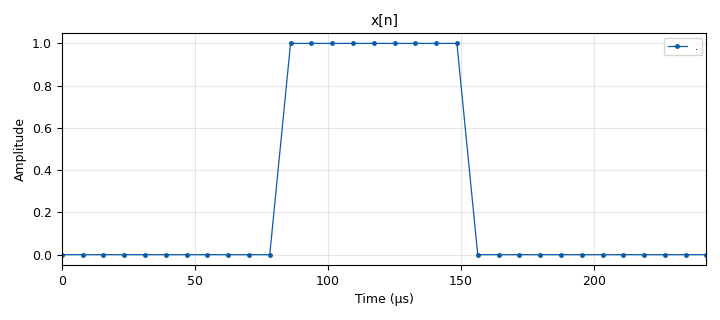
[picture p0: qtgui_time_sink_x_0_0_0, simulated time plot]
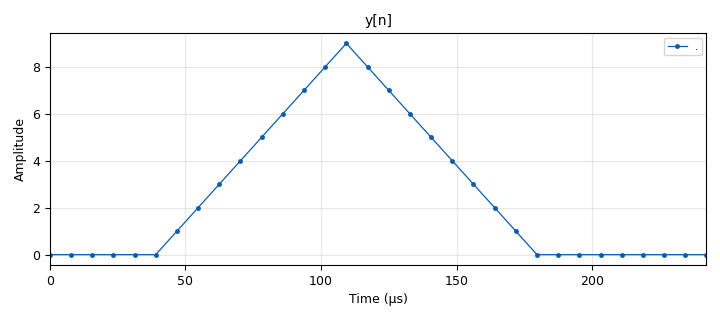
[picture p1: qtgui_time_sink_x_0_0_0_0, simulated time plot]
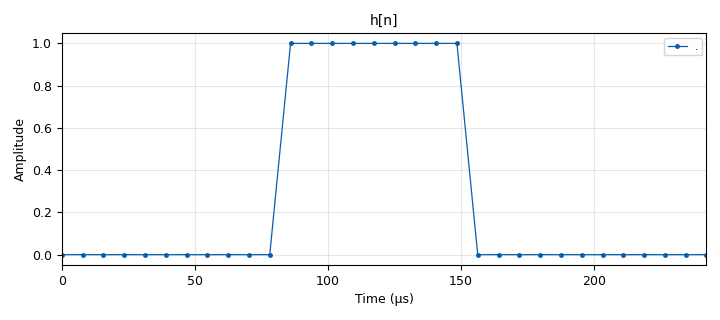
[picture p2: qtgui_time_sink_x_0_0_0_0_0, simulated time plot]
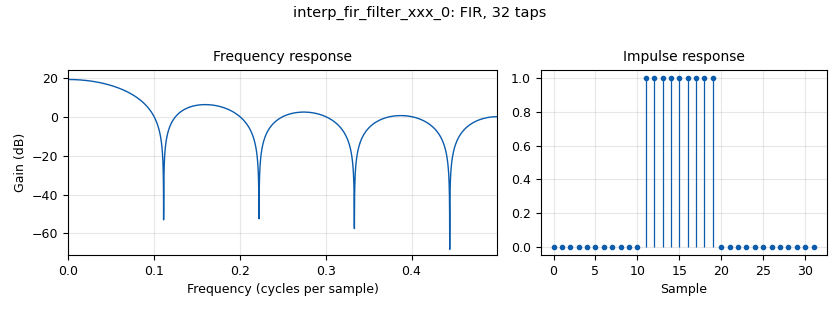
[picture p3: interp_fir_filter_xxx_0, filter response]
<?xml version='1.0' encoding='utf-8'?>
<?grc format='1' created='3.7.13'?>
<flow_graph>
<block>
<key>options</key>
<param><key>id</key><value>top_block</value></param>
<param><key>category</key><value>Custom</value></param>
<param><key>generate_options</key><value>qt_gui</value></param>
<param><key>run</key><value>run_stop</value></param>
</block>
<block>
<key>variable</key>
<param><key>id</key><value>N</value></param>
<param><key>value</key><value>32</value></param>
</block>
<block>
<key>variable</key>
<param><key>id</key><value>h</value></param>
<param><key>value</key><value>x</value></param>
</block>
<block>
<key>variable_qtgui_range</key>
<param><key>id</key><value>retraso</value></param>
<param><key>value</key><value>int(N/2)</value></param>
<param><key>gui_hint</key><value>0,1,1,1</value></param>
<param><key>label</key><value>retrasar senal</value></param>
<param><key>orient</key><value>Qt.Horizontal</value></param>
<param><key>start</key><value>0</value></param>
<param><key>step</key><value>1</value></param>
<param><key>stop</key><value>N</value></param>
<param><key>rangeType</key><value>int</value></param>
</block>
<block>
<key>variable_qtgui_check_box</key>
<param><key>id</key><value>run_stop</value></param>
<param><key>value</key><value>True</value></param>
<param><key>false</key><value>False</value></param>
<param><key>gui_hint</key><value>0,0,1,1</value></param>
<param><key>label</key><value>Inicial/Parar</value></param>
<param><key>true</key><value>True</value></param>
<param><key>type</key><value>real</value></param>
</block>
<block>
<key>variable</key>
<param><key>id</key><value>samp_rate</value></param>
<param><key>value</key><value>128000</value></param>
</block>
<block>
<key>variable</key>
<param><key>id</key><value>x</value></param>
<param><key>value</key><value>(0,0,0,0,0,0,0,0,0,0,0,1,1,1,1,1,1,1,1,1,0,0,0,0,0,0,0,0,0,0,0,0)</value></param>
</block>
<block>
<key>blocks_delay</key>
<param><key>id</key><value>blocks_delay_0</value></param>
<param><key>delay</key><value>retraso</value></param>
<param><key>type</key><value>float</value></param>
</block>
<block>
<key>blocks_throttle</key>
<param><key>id</key><value>blocks_throttle_0</value></param>
<param><key>samples_per_second</key><value>samp_rate</value></param>
<param><key>type</key><value>float</value></param>
</block>
<block>
<key>blocks_vector_source_x</key>
<param><key>id</key><value>blocks_vector_source_x_0_0</value></param>
<param><key>type</key><value>float</value></param>
<param><key>repeat</key><value>True</value></param>
<param><key>vector</key><value>x</value></param>
</block>
<block>
<key>blocks_vector_source_x</key>
<param><key>id</key><value>blocks_vector_source_x_0_0_0</value></param>
<param><key>type</key><value>float</value></param>
<param><key>repeat</key><value>True</value></param>
<param><key>vector</key><value>h</value></param>
</block>
<block>
<key>interp_fir_filter_xxx</key>
<param><key>id</key><value>interp_fir_filter_xxx_0</value></param>
<param><key>interp</key><value>1</value></param>
<param><key>taps</key><value>h</value></param>
<param><key>type</key><value>fff</value></param>
</block>
<block>
<key>qtgui_time_sink_x</key>
<param><key>id</key><value>qtgui_time_sink_x_0_0_0</value></param>
<param><key>autoscale</key><value>True</value></param>
<param><key>gui_hint</key><value>4,0,1,1</value></param>
<param><key>color1</key><value>"blue"</value></param>
<param><key>label1</key><value>.</value></param>
<param><key>marker1</key><value>0</value></param>
<param><key>width1</key><value>3</value></param>
<param><key>name</key><value>"x[n]"</value></param>
<param><key>size</key><value>N</value></param>
<param><key>srate</key><value>samp_rate</value></param>
<param><key>type</key><value>float</value></param>
</block>
<block>
<key>qtgui_time_sink_x</key>
<param><key>id</key><value>qtgui_time_sink_x_0_0_0_0</value></param>
<param><key>autoscale</key><value>True</value></param>
<param><key>gui_hint</key><value>6,0,1,1</value></param>
<param><key>color1</key><value>"blue"</value></param>
<param><key>label1</key><value>.</value></param>
<param><key>marker1</key><value>0</value></param>
<param><key>width1</key><value>3</value></param>
<param><key>name</key><value>"y[n]"</value></param>
<param><key>size</key><value>N</value></param>
<param><key>srate</key><value>samp_rate</value></param>
<param><key>type</key><value>float</value></param>
</block>
<block>
<key>qtgui_time_sink_x</key>
<param><key>id</key><value>qtgui_time_sink_x_0_0_0_0_0</value></param>
<param><key>autoscale</key><value>True</value></param>
<param><key>gui_hint</key><value>4,1,1,1</value></param>
<param><key>color1</key><value>"blue"</value></param>
<param><key>label1</key><value>.</value></param>
<param><key>marker1</key><value>0</value></param>
<param><key>width1</key><value>3</value></param>
<param><key>name</key><value>"h[n]"</value></param>
<param><key>size</key><value>N</value></param>
<param><key>srate</key><value>samp_rate</value></param>
<param><key>type</key><value>float</value></param>
</block>
<block>
<key>virtual_sink</key>
<param><key>id</key><value>virtual_sink_0</value></param>
<param><key>stream_id</key><value>T2</value></param>
</block>
<block>
<key>virtual_sink</key>
<param><key>id</key><value>virtual_sink_0_0</value></param>
<param><key>stream_id</key><value>T1</value></param>
</block>
<block>
<key>virtual_source</key>
<param><key>id</key><value>virtual_source_0</value></param>
<param><key>stream_id</key><value>T2</value></param>
</block>
<block>
<key>virtual_source</key>
<param><key>id</key><value>virtual_source_0_0</value></param>
<param><key>stream_id</key><value>T1</value></param>
</block>
<connection><source_block_id>blocks_delay_0</source_block_id><sink_block_id>qtgui_time_sink_x_0_0_0_0</sink_block_id><source_key>0</source_key><sink_key>0</sink_key></connection>
<connection><source_block_id>blocks_throttle_0</source_block_id><sink_block_id>virtual_sink_0</sink_block_id><source_key>0</source_key><sink_key>0</sink_key></connection>
<connection><source_block_id>blocks_vector_source_x_0_0</source_block_id><sink_block_id>interp_fir_filter_xxx_0</sink_block_id><source_key>0</source_key><sink_key>0</sink_key></connection>
<connection><source_block_id>blocks_vector_source_x_0_0</source_block_id><sink_block_id>virtual_sink_0_0</sink_block_id><source_key>0</source_key><sink_key>0</sink_key></connection>
<connection><source_block_id>blocks_vector_source_x_0_0_0</source_block_id><sink_block_id>qtgui_time_sink_x_0_0_0_0_0</sink_block_id><source_key>0</source_key><sink_key>0</sink_key></connection>
<connection><source_block_id>interp_fir_filter_xxx_0</source_block_id><sink_block_id>blocks_throttle_0</sink_block_id><source_key>0</source_key><sink_key>0</sink_key></connection>
<connection><source_block_id>virtual_source_0</source_block_id><sink_block_id>blocks_delay_0</sink_block_id><source_key>0</source_key><sink_key>0</sink_key></connection>
<connection><source_block_id>virtual_source_0_0</source_block_id><sink_block_id>qtgui_time_sink_x_0_0_0</sink_block_id><source_key>0</source_key><sink_key>0</sink_key></connection>
</flow_graph>
